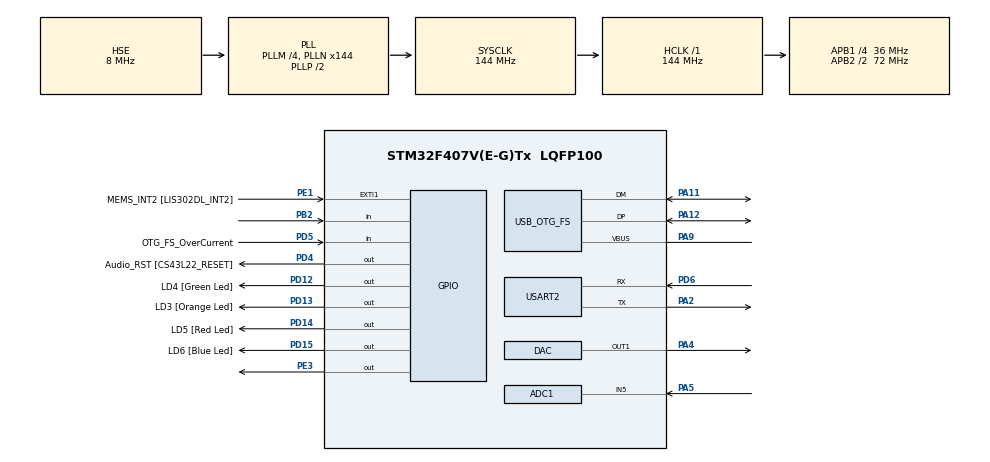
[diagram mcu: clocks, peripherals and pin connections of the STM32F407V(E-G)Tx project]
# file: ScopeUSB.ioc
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ADC1.Channel-5\#ChannelRegularConversion=ADC_CHANNEL_5
ADC1.ClockPrescaler=ADC_CLOCK_SYNC_PCLK_DIV4
ADC1.ContinuousConvMode=ENABLE
ADC1.DMAContinuousRequests=ENABLE
ADC1.EOCSelection=ADC_EOC_SEQ_CONV
ADC1.NbrOfConversionFlag=1
ADC1.Rank-5\#ChannelRegularConversion=1
ADC1.SamplingTime-5\#ChannelRegularConversion=ADC_SAMPLETIME_144CYCLES
ADC1.master=1
DAC.DAC_Trigger=DAC_TRIGGER_T2_TRGO
DAC.TriangleAmplitude=DAC_TRIANGLEAMPLITUDE_4095
DAC.WaveGeneration=TriangleWaveGeneration
Dma.ADC1.0.Direction=DMA_PERIPH_TO_MEMORY
Dma.ADC1.0.FIFOMode=DMA_FIFOMODE_DISABLE
Dma.ADC1.0.Instance=DMA2_Stream0
Dma.ADC1.0.MemDataAlignment=DMA_MDATAALIGN_HALFWORD
Dma.ADC1.0.MemInc=DMA_MINC_ENABLE
Dma.ADC1.0.Mode=DMA_CIRCULAR
Dma.ADC1.0.PeriphDataAlignment=DMA_PDATAALIGN_HALFWORD
Dma.ADC1.0.PeriphInc=DMA_PINC_DISABLE
Dma.ADC1.0.Priority=DMA_PRIORITY_HIGH
Dma.Request0=ADC1
Mcu.Family=STM32F4
Mcu.Name=STM32F407V(E-G)Tx
Mcu.Package=LQFP100
NVIC.DMA2_Stream0_IRQn=true\:0\:0\:false\:false\:true\:false\:true
NVIC.OTG_FS_IRQn=true\:0\:0\:false\:false\:true\:true\:true
NVIC.OTG_FS_WKUP_IRQn=true\:0\:0\:false\:false\:true\:false\:true
NVIC.PriorityGroup=NVIC_PRIORITYGROUP_0
NVIC.TIM2_IRQn=true\:0\:0\:false\:false\:true\:true\:true
NVIC.TIM6_DAC_IRQn=true\:0\:0\:false\:false\:true\:true\:true
PA11.Mode=Device_Only
PA11.Signal=USB_OTG_FS_DM
PA12.Mode=Device_Only
PA12.Signal=USB_OTG_FS_DP
PA2.Mode=Asynchronous
PA2.Signal=USART2_TX
PA4.Signal=COMP_DAC1_group
PA5.Signal=ADCx_IN5
PA9.Mode=Activate_VBUS
PA9.Signal=USB_OTG_FS_VBUS
PB2.Signal=GPIO_Input
PC14-OSC32_IN.Mode=LSE-External-Oscillator
PC14-OSC32_IN.Signal=RCC_OSC32_IN
PC15-OSC32_OUT.Mode=LSE-External-Oscillator
PC15-OSC32_OUT.Signal=RCC_OSC32_OUT
PD12.GPIO_Label=LD4 [Green Led]
PD12.GPIO_PuPd=GPIO_NOPULL
PD12.GPIO_Speed=GPIO_SPEED_FREQ_LOW
PD12.Signal=GPIO_Output
PD13.GPIO_Label=LD3 [Orange Led]
PD13.GPIO_PuPd=GPIO_NOPULL
PD13.GPIO_Speed=GPIO_SPEED_FREQ_LOW
PD13.Signal=GPIO_Output
PD14.GPIO_Label=LD5 [Red Led]
PD14.GPIO_PuPd=GPIO_NOPULL
PD14.GPIO_Speed=GPIO_SPEED_FREQ_LOW
PD14.Signal=GPIO_Output
PD15.GPIO_Label=LD6 [Blue Led]
PD15.GPIO_PuPd=GPIO_NOPULL
PD15.GPIO_Speed=GPIO_SPEED_FREQ_LOW
PD15.Signal=GPIO_Output
PD4.GPIO_Label=Audio_RST [CS43L22_RESET]
PD4.GPIO_PuPd=GPIO_NOPULL
PD4.GPIO_Speed=GPIO_SPEED_FREQ_LOW
PD4.Signal=GPIO_Output
PD5.GPIO_Label=OTG_FS_OverCurrent
PD5.GPIO_Mode=GPIO_MODE_INPUT
PD5.GPIO_PuPd=GPIO_NOPULL
PD5.Signal=GPIO_Input
PD6.Mode=Asynchronous
PD6.Signal=USART2_RX
PE1.GPIO_Label=MEMS_INT2 [LIS302DL_INT2]
PE1.GPIO_ModeDefaultEXTI=GPIO_MODE_EVT_RISING
PE1.GPIO_PuPd=GPIO_NOPULL
PE1.Signal=GPXTI1
PE3.Signal=GPIO_Output
PH0-OSC_IN.Mode=HSE-External-Oscillator
PH0-OSC_IN.Signal=RCC_OSC_IN
PH1-OSC_OUT.Mode=HSE-External-Oscillator
PH1-OSC_OUT.Signal=RCC_OSC_OUT
ProjectManager.HeapSize=0x1000
ProjectManager.StackSize=0x500
ProjectManager.TargetToolchain=STM32CubeIDE
RCC.48MHZClocksFreq_Value=48000000
RCC.AHBFreq_Value=144000000
RCC.APB1CLKDivider=RCC_HCLK_DIV4
RCC.APB1Freq_Value=36000000
RCC.APB1TimFreq_Value=72000000
RCC.APB2CLKDivider=RCC_HCLK_DIV2
RCC.APB2Freq_Value=72000000
RCC.APB2TimFreq_Value=144000000
RCC.CortexFreq_Value=144000000
RCC.HCLKFreq_Value=144000000
RCC.HSE_VALUE=8000000
RCC.HSI_VALUE=16000000
RCC.PLLM=4
RCC.PLLN=144
RCC.PLLQ=6
RCC.SYSCLKFreq_VALUE=144000000
RCC.SYSCLKSource=RCC_SYSCLKSOURCE_PLLCLK
RCC.VCOOutputFreq_Value=288000000
SH.ADCx_IN5.0=ADC1_IN5,IN5
SH.COMP_DAC1_group.0=DAC_OUT1,DAC_OUT1
TIM2.AutoReloadPreload=TIM_AUTORELOAD_PRELOAD_ENABLE
TIM2.ClockDivision=TIM_CLOCKDIVISION_DIV1
TIM2.Period=1700
TIM2.Prescaler=0
TIM2.TIM_MasterOutputTrigger=TIM_TRGO_UPDATE
USART2.VirtualMode=VM_ASYNC
USB_DEVICE.CLASS_NAME_FS=CDC
USB_DEVICE.MANUFACTURER_STRING-CDC_FS=Scope USB
USB_DEVICE.PRODUCT_STRING_CDC_FS=Scope USB
USB_DEVICE.VirtualMode-CDC_FS=Cdc
USB_DEVICE.VirtualModeFS=Cdc_FS
USB_OTG_FS.VirtualMode=Device_Only
USB_OTG_FS.low_power_enable=ENABLE
USB_OTG_FS.lpm_enable=ENABLE
VP_TIM2_VS_ClockSourceINT.Mode=Internal
VP_USB_DEVICE_VS_USB_DEVICE_CDC_FS.Mode=CDC_FS
board=STM32F407G-DISC1

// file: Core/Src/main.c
/* USER CODE BEGIN Header */
/**
 ******************************************************************************
 * @file           : main.c
 * @brief          : Main program body
 ******************************************************************************
 * @attention
 *
 * <h2><center>&copy; Copyright (c) 2020 STMicroelectronics.
 * All rights reserved.</center></h2>
 *
 * This software component is licensed by ST under BSD 3-Clause license,
 * the "License"; You may not use this file except in compliance with the
 * License. You may obtain a copy of the License at:
 *                        opensource.org/licenses/BSD-3-Clause
 *
 ******************************************************************************
 */
/* USER CODE END Header */
#include "main.h"
#include "usb_device.h"

/* USER CODE BEGIN Includes */
#include "globalFilter.h"
/* USER CODE END Includes */

/* USER CODE BEGIN PD */

#define PKG_SIZE 120

#define FIRST_BUF_HALF 1
#define SECOND_BUF_HALF 2

#define    DWT_CYCCNT    *(volatile uint32_t*)0xE0001004
#define    DWT_CONTROL   *(volatile uint32_t*)0xE0001000
#define    SCB_DEMCR     *(volatile uint32_t*)0xE000EDFC

/* USER CODE END PD */

ADC_HandleTypeDef hadc1;
DMA_HandleTypeDef hdma_adc1;

DAC_HandleTypeDef hdac;

TIM_HandleTypeDef htim2;

UART_HandleTypeDef huart2;

void SystemClock_Config(void);
static void MX_GPIO_Init(void);
static void MX_DMA_Init(void);
static void MX_ADC1_Init(void);
static void MX_USART2_UART_Init(void);
static void MX_DAC_Init(void);
static void MX_TIM2_Init(void);

/* USER CODE BEGIN 0 */

volatile uint16_t buffer[PKG_SIZE * 2];
volatile float out[PKG_SIZE];
uint8_t timeToSendData = 0;
uint16_t *dataPtr;

void HAL_ADC_ConvHalfCpltCallback(ADC_HandleTypeDef *hadc) {
	timeToSendData = 1;
}

void HAL_ADC_ConvCpltCallback(ADC_HandleTypeDef *hadc) {
	timeToSendData = 2;
}

uint32_t cycles_count=123;

void processData() {

	//Выбираем текущий буфер, если выставлен флаг, если флаг не выставлен - return
	switch (timeToSendData) {
	case FIRST_BUF_HALF:
		dataPtr = ((uint16_t*) buffer);
		break;
	case SECOND_BUF_HALF:
		dataPtr = ((uint16_t*) buffer) + PKG_SIZE;
		break;
	default:
		return;
		break;
	}

	timeToSendData = 0;
	CoreDebug->DEMCR |= CoreDebug_DEMCR_TRCENA_Msk; // Разрешаем TRACE
	DWT->CTRL |= DWT_CTRL_CYCCNTENA_Msk; // Разрешаем счетчик тактов
	DWT->CYCCNT = 0; // Обнуляем счетчик

	for (int i = 0; i < PKG_SIZE; i++) {

		out[i] =globalFilterF4(globalFilterF2(globalFilterF1(dataPtr[i])));

	}

	cycles_count = DWT->CYCCNT; // Читаем счетчик тактов

	CDC_Transmit_FS((uint8_t*) out, PKG_SIZE * sizeof(float));

	//CDC_Transmit_FS(dataPtr, PKG_SIZE*sizeof(uint16_t));
}

/* USER CODE END 0 */

int main(void)
{

  /* MCU Configuration--------------------------------------------------------*/

  /* Reset of all peripherals, Initializes the Flash interface and the Systick. */
  HAL_Init();

  /* Configure the system clock */
  SystemClock_Config();

  /* Initialize all configured peripherals */
  MX_GPIO_Init();
  MX_DMA_Init();
  MX_USB_DEVICE_Init();
  MX_ADC1_Init();
  MX_USART2_UART_Init();
  MX_DAC_Init();
  MX_TIM2_Init();
  /* USER CODE BEGIN 2 */
	HAL_TIM_Base_Start(&htim2);
	HAL_DAC_Start(&hdac, DAC_CHANNEL_1);

  /* USER CODE END 2 */

  /* Infinite loop */
  /* USER CODE BEGIN WHILE */

	HAL_ADC_Start_DMA(&hadc1, (uint16_t*) &buffer, PKG_SIZE * 2);

	while (1) {
		processData();

    /* USER CODE END WHILE */

	}
}

void SystemClock_Config(void)
{
  RCC_OscInitTypeDef RCC_OscInitStruct = {0};
  RCC_ClkInitTypeDef RCC_ClkInitStruct = {0};

  /** Configure the main internal regulator output voltage
  */
  __HAL_RCC_PWR_CLK_ENABLE();
  __HAL_PWR_VOLTAGESCALING_CONFIG(PWR_REGULATOR_VOLTAGE_SCALE1);
  /** Initializes the RCC Oscillators according to the specified parameters
  * in the RCC_OscInitTypeDef structure.
  */
  RCC_OscInitStruct.OscillatorType = RCC_OSCILLATORTYPE_HSE;
  RCC_OscInitStruct.HSEState = RCC_HSE_ON;
  RCC_OscInitStruct.PLL.PLLState = RCC_PLL_ON;
  RCC_OscInitStruct.PLL.PLLSource = RCC_PLLSOURCE_HSE;
  RCC_OscInitStruct.PLL.PLLM = 4;
  RCC_OscInitStruct.PLL.PLLN = 144;
  RCC_OscInitStruct.PLL.PLLP = RCC_PLLP_DIV2;
  RCC_OscInitStruct.PLL.PLLQ = 6;
  if (HAL_RCC_OscConfig(&RCC_OscInitStruct) != HAL_OK)
  {
    Error_Handler();
  }
  /** Initializes the CPU, AHB and APB buses clocks
  */
  RCC_ClkInitStruct.ClockType = RCC_CLOCKTYPE_HCLK|RCC_CLOCKTYPE_SYSCLK
                              |RCC_CLOCKTYPE_PCLK1|RCC_CLOCKTYPE_PCLK2;
  RCC_ClkInitStruct.SYSCLKSource = RCC_SYSCLKSOURCE_PLLCLK;
  RCC_ClkInitStruct.AHBCLKDivider = RCC_SYSCLK_DIV1;
  RCC_ClkInitStruct.APB1CLKDivider = RCC_HCLK_DIV4;
  RCC_ClkInitStruct.APB2CLKDivider = RCC_HCLK_DIV2;

  if (HAL_RCC_ClockConfig(&RCC_ClkInitStruct, FLASH_LATENCY_4) != HAL_OK)
  {
    Error_Handler();
  }
}

static void MX_ADC1_Init(void)
{

  ADC_ChannelConfTypeDef sConfig = {0};

  /** Configure the global features of the ADC (Clock, Resolution, Data Alignment and number of conversion)
  */
  hadc1.Instance = ADC1;
  hadc1.Init.ClockPrescaler = ADC_CLOCK_SYNC_PCLK_DIV4;
  hadc1.Init.Resolution = ADC_RESOLUTION_12B;
  hadc1.Init.ScanConvMode = DISABLE;
  hadc1.Init.ContinuousConvMode = ENABLE;
  hadc1.Init.DiscontinuousConvMode = DISABLE;
  hadc1.Init.ExternalTrigConvEdge = ADC_EXTERNALTRIGCONVEDGE_NONE;
  hadc1.Init.ExternalTrigConv = ADC_SOFTWARE_START;
  hadc1.Init.DataAlign = ADC_DATAALIGN_RIGHT;
  hadc1.Init.NbrOfConversion = 1;
  hadc1.Init.DMAContinuousRequests = ENABLE;
  hadc1.Init.EOCSelection = ADC_EOC_SEQ_CONV;
  if (HAL_ADC_Init(&hadc1) != HAL_OK)
  {
    Error_Handler();
  }
  /** Configure for the selected ADC regular channel its corresponding rank in the sequencer and its sample time.
  */
  sConfig.Channel = ADC_CHANNEL_5;
  sConfig.Rank = 1;
  sConfig.SamplingTime = ADC_SAMPLETIME_144CYCLES;
  if (HAL_ADC_ConfigChannel(&hadc1, &sConfig) != HAL_OK)
  {
    Error_Handler();
  }

}

static void MX_DAC_Init(void)
{

  DAC_ChannelConfTypeDef sConfig = {0};

  /** DAC Initialization
  */
  hdac.Instance = DAC;
  if (HAL_DAC_Init(&hdac) != HAL_OK)
  {
    Error_Handler();
  }
  /** DAC channel OUT1 config
  */
  sConfig.DAC_Trigger = DAC_TRIGGER_T2_TRGO;
  sConfig.DAC_OutputBuffer = DAC_OUTPUTBUFFER_ENABLE;
  if (HAL_DAC_ConfigChannel(&hdac, &sConfig, DAC_CHANNEL_1) != HAL_OK)
  {
    Error_Handler();
  }
  /** Configure Triangle wave generation on DAC OUT1
  */
  if (HAL_DACEx_TriangleWaveGenerate(&hdac, DAC_CHANNEL_1, DAC_TRIANGLEAMPLITUDE_4095) != HAL_OK)
  {
    Error_Handler();
  }

}

static void MX_TIM2_Init(void)
{

  TIM_ClockConfigTypeDef sClockSourceConfig = {0};
  TIM_MasterConfigTypeDef sMasterConfig = {0};

  htim2.Instance = TIM2;
  htim2.Init.Prescaler = 0;
  htim2.Init.CounterMode = TIM_COUNTERMODE_UP;
  htim2.Init.Period = 1700;
  htim2.Init.ClockDivision = TIM_CLOCKDIVISION_DIV1;
  htim2.Init.AutoReloadPreload = TIM_AUTORELOAD_PRELOAD_ENABLE;
  if (HAL_TIM_Base_Init(&htim2) != HAL_OK)
  {
    Error_Handler();
  }
  sClockSourceConfig.ClockSource = TIM_CLOCKSOURCE_INTERNAL;
  if (HAL_TIM_ConfigClockSource(&htim2, &sClockSourceConfig) != HAL_OK)
  {
    Error_Handler();
  }
  sMasterConfig.MasterOutputTrigger = TIM_TRGO_UPDATE;
  sMasterConfig.MasterSlaveMode = TIM_MASTERSLAVEMODE_DISABLE;
  if (HAL_TIMEx_MasterConfigSynchronization(&htim2, &sMasterConfig) != HAL_OK)
  {
    Error_Handler();
  }

}

static void MX_USART2_UART_Init(void)
{

  huart2.Instance = USART2;
  huart2.Init.BaudRate = 115200;
  huart2.Init.WordLength = UART_WORDLENGTH_8B;
  huart2.Init.StopBits = UART_STOPBITS_1;
  huart2.Init.Parity = UART_PARITY_NONE;
  huart2.Init.Mode = UART_MODE_TX_RX;
  huart2.Init.HwFlowCtl = UART_HWCONTROL_NONE;
  huart2.Init.OverSampling = UART_OVERSAMPLING_16;
  if (HAL_UART_Init(&huart2) != HAL_OK)
  {
    Error_Handler();
  }

}

static void MX_DMA_Init(void)
{

  /* DMA controller clock enable */
  __HAL_RCC_DMA2_CLK_ENABLE();

  /* DMA interrupt init */
  /* DMA2_Stream0_IRQn interrupt configuration */
  HAL_NVIC_SetPriority(DMA2_Stream0_IRQn, 0, 0);
  HAL_NVIC_EnableIRQ(DMA2_Stream0_IRQn);

}

static void MX_GPIO_Init(void)
{
  GPIO_InitTypeDef GPIO_InitStruct = {0};

  /* GPIO Ports Clock Enable */
  __HAL_RCC_GPIOE_CLK_ENABLE();
  __HAL_RCC_GPIOC_CLK_ENABLE();
  __HAL_RCC_GPIOH_CLK_ENABLE();
  __HAL_RCC_GPIOA_CLK_ENABLE();
  __HAL_RCC_GPIOB_CLK_ENABLE();
  __HAL_RCC_GPIOD_CLK_ENABLE();

  /*Configure GPIO pin Output Level */
  HAL_GPIO_WritePin(GPIOE, GPIO_PIN_3, GPIO_PIN_RESET);

  /*Configure GPIO pin Output Level */
  HAL_GPIO_WritePin(GPIOD, LD4_Pin|LD3_Pin|LD5_Pin|LD6_Pin
                          |Audio_RST_Pin, GPIO_PIN_RESET);

  /*Configure GPIO pin : PE3 */
  GPIO_InitStruct.Pin = GPIO_PIN_3;
  GPIO_InitStruct.Mode = GPIO_MODE_OUTPUT_PP;
  GPIO_InitStruct.Pull = GPIO_NOPULL;
  GPIO_InitStruct.Speed = GPIO_SPEED_FREQ_LOW;
  HAL_GPIO_Init(GPIOE, &GPIO_InitStruct);

  /*Configure GPIO pin : PB2 */
  GPIO_InitStruct.Pin = GPIO_PIN_2;
  GPIO_InitStruct.Mode = GPIO_MODE_INPUT;
  GPIO_InitStruct.Pull = GPIO_NOPULL;
  HAL_GPIO_Init(GPIOB, &GPIO_InitStruct);

  /*Configure GPIO pins : LD4_Pin LD3_Pin LD5_Pin LD6_Pin
                           Audio_RST_Pin */
  GPIO_InitStruct.Pin = LD4_Pin|LD3_Pin|LD5_Pin|LD6_Pin
                          |Audio_RST_Pin;
  GPIO_InitStruct.Mode = GPIO_MODE_OUTPUT_PP;
  GPIO_InitStruct.Pull = GPIO_NOPULL;
  GPIO_InitStruct.Speed = GPIO_SPEED_FREQ_LOW;
  HAL_GPIO_Init(GPIOD, &GPIO_InitStruct);

  /*Configure GPIO pin : OTG_FS_OverCurrent_Pin */
  GPIO_InitStruct.Pin = OTG_FS_OverCurrent_Pin;
  GPIO_InitStruct.Mode = GPIO_MODE_INPUT;
  GPIO_InitStruct.Pull = GPIO_NOPULL;
  HAL_GPIO_Init(OTG_FS_OverCurrent_GPIO_Port, &GPIO_InitStruct);

  /*Configure GPIO pin : MEMS_INT2_Pin */
  GPIO_InitStruct.Pin = MEMS_INT2_Pin;
  GPIO_InitStruct.Mode = GPIO_MODE_EVT_RISING;
  GPIO_InitStruct.Pull = GPIO_NOPULL;
  HAL_GPIO_Init(MEMS_INT2_GPIO_Port, &GPIO_InitStruct);

}

void Error_Handler(void)
{
}

/************************ (C) COPYRIGHT STMicroelectronics *****END OF FILE****/
